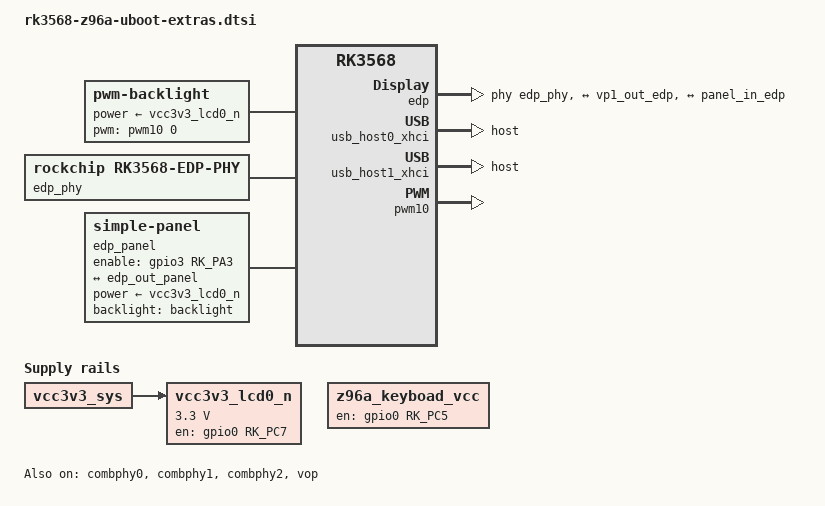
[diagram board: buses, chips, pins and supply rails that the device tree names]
/*
 * Z96A laptop U-Boot extras — included from arch/arm/dts/rk3568-z96a-u-boot.dtsi
 * Keyboard/touchpad USB HID power + eDP panel path for Radxa DRM port.
 */

/* U-Boot boots from eMMC only; skip empty SD + WiFi SDIO probes */
&sdmmc0 {
	status = "disabled";
};

&sdmmc2 {
	status = "disabled";
};

/ {
	/* Keyboard/touchpad combo 5V (USB HID behind Terminus hub). */
	z96a_keyboad_vcc: z96a-keyboad-vcc {
		compatible = "regulator-fixed";
		gpio = <&gpio0 RK_PC5 GPIO_ACTIVE_HIGH>;
		pinctrl-names = "default";
		pinctrl-0 = <&z96a_keyboard_pwr>;
		regulator-name = "z96a_keyboad_vcc";
		enable-active-high;
		regulator-always-on;
		regulator-boot-on;
	};

	/*
	 * LCD 3V3 rail enable is GPIO0_PC7 (vendor + mainline). Without driving
	 * this high the panel never powers and Analogix AUX/DPCD times out (-110).
	 * Same fixed-regulator+gpio pattern as z96a_keyboad_vcc.
	 */
	vcc3v3_lcd0_n: vcc3v3-lcd0-n {
		compatible = "regulator-fixed";
		regulator-name = "vcc3v3_lcd0_n";
		regulator-always-on;
		regulator-boot-on;
		regulator-min-microvolt = <3300000>;
		regulator-max-microvolt = <3300000>;
		enable-active-high;
		gpio = <&gpio0 RK_PC7 GPIO_ACTIVE_HIGH>;
		pinctrl-names = "default";
		pinctrl-0 = <&z96a_lcd_vcc_en>;
		vin-supply = <&vcc3v3_sys>;
	};

	backlight: backlight {
		compatible = "pwm-backlight";
		pwms = <&pwm10 0 5000 0>;
		brightness-levels = <
			  0  20  40  60  80 100 120 140
			160 180 200 220 240 255
		>;
		default-brightness-level = <13>;
		power-supply = <&vcc3v3_lcd0_n>;
	};

	/*
	 * SoC eDP (missing from mainline U-Boot rk356x-base.dtsi).
	 * Clock/reset IDs match Linux rk3568-z96a.dts.
	 */
	edp_phy_grf: syscon@fdcb0000 {
		compatible = "rockchip,rk3568-edp-phy-grf", "syscon", "simple-mfd";
		reg = <0x0 0xfdcb0000 0x0 0x100>;
		clocks = <&cru PCLK_EDPPHY_GRF>;

		edp_phy: edp-phy {
			compatible = "rockchip,rk3568-edp-phy";
			clocks = <&pmucru XIN_OSC0_EDPPHY_G>;
			clock-names = "refclk";
			#phy-cells = <0>;
			status = "okay";
		};
	};

	edp: edp@fe0c0000 {
		compatible = "rockchip,rk3568-edp";
		reg = <0x0 0xfe0c0000 0x0 0x10000>;
		interrupts = <GIC_SPI 18 IRQ_TYPE_LEVEL_HIGH>;
		clocks = <&pmucru XIN_OSC0_EDPPHY_G>, <&cru PCLK_EDP_CTRL>,
			 <&cru CLK_EDP_200M>, <&cru HCLK_VO>;
		clock-names = "dp", "pclk", "spdif", "hclk";
		resets = <&cru SRST_EDP_24M>, <&cru SRST_P_EDP_CTRL>;
		reset-names = "dp", "apb";
		phys = <&edp_phy>;
		phy-names = "dp";
		power-domains = <&power RK3568_PD_VO>;
		rockchip,grf = <&grf>;
		force-hpd;
		status = "okay";

		ports {
			#address-cells = <1>;
			#size-cells = <0>;

			edp_in: port@0 {
				reg = <0>;

				edp_in_vp1: endpoint {
					remote-endpoint = <&vp1_out_edp>;
				};
			};

			edp_out: port@1 {
				reg = <1>;

				edp_out_panel: endpoint {
					remote-endpoint = <&panel_in_edp>;
				};
			};
		};
	};

	edp_panel: edp-panel {
		compatible = "simple-panel";
		status = "okay";
		power-supply = <&vcc3v3_lcd0_n>;
		backlight = <&backlight>;
		enable-gpios = <&gpio3 RK_PA3 GPIO_ACTIVE_HIGH>;
		/* Give panel VDD/HPD time before AUX (Linux uses 20ms; be safer). */
		prepare-delay-ms = <100>;
		/* Wait for a clean black frame / stream before lighting backlight. */
		enable-delay-ms = <150>;
		bus-format = <0x100a>; /* MEDIA_BUS_FMT_RGB888_1X24 */
		bpc = <8>;

		display-timings {
			native-mode = <&timing0>;
			timing0: timing0 {
				clock-frequency = <141400000>;
				hactive = <1920>;
				vactive = <1080>;
				hfront-porch = <48>;
				hback-porch = <142>;
				hsync-len = <32>;
				vfront-porch = <3>;
				vback-porch = <11>;
				vsync-len = <6>;
				hsync-active = <0>;
				vsync-active = <0>;
				de-active = <0>;
				pixelclk-active = <0>;
			};
		};

		port {
			panel_in_edp: endpoint {
				remote-endpoint = <&edp_out_panel>;
			};
		};
	};
};

&pinctrl {
	usb {
		/* Match Linux/vendor: drive enable pins high at pinctrl apply. */
		z96a_keyboard_pwr: z96a-keyboard-pwr {
			rockchip,pins = <0 RK_PC5 RK_FUNC_GPIO &pcfg_output_high>;
		};
		z96a_vcc5v0_usb_en: z96a-vcc5v0-usb-en {
			rockchip,pins = <3 RK_PB7 RK_FUNC_GPIO &pcfg_output_high>;
		};
		z96a_vcc5v0_usb_host_en: z96a-vcc5v0-usb-host-en {
			rockchip,pins = <3 RK_PB6 RK_FUNC_GPIO &pcfg_output_high>;
		};
		z96a_vcc5v0_usb_otg_en: z96a-vcc5v0-usb-otg-en {
			rockchip,pins = <2 RK_PD5 RK_FUNC_GPIO &pcfg_output_high>;
		};
	};

	lcd {
		z96a_lcd_vcc_en: z96a-lcd-vcc-en {
			rockchip,pins = <0 RK_PC7 RK_FUNC_GPIO &pcfg_pull_none>;
		};
	};
};

/*
 * Rock-3A base DTS uses wrong USB VBUS GPIOs for Z96A (PA5/PA6/PD5 on gpio0).
 * Override to vendor/mainline pins so host PHYs actually get 5V and the
 * keyboard Terminus hub on usb_host1 can enumerate.
 */
&vcc5v0_usb {
	enable-active-high;
	gpio = <&gpio3 RK_PB7 GPIO_ACTIVE_HIGH>;
	pinctrl-names = "default";
	pinctrl-0 = <&z96a_vcc5v0_usb_en>;
	regulator-always-on;
	regulator-boot-on;
};

&vcc5v0_usb_host {
	enable-active-high;
	gpio = <&gpio3 RK_PB6 GPIO_ACTIVE_HIGH>;
	pinctrl-names = "default";
	pinctrl-0 = <&z96a_vcc5v0_usb_host_en>;
	regulator-always-on;
	regulator-boot-on;
	vin-supply = <&vcc5v0_usb>;
};

&vcc5v0_usb_otg {
	enable-active-high;
	gpio = <&gpio2 RK_PD5 GPIO_ACTIVE_HIGH>;
	pinctrl-names = "default";
	pinctrl-0 = <&z96a_vcc5v0_usb_otg_en>;
	regulator-always-on;
	regulator-boot-on;
	vin-supply = <&vcc5v0_usb>;
};

/* Rock-3A hub rail (GPIO0_PD5) is not this board — leave it off. */
&vcc5v0_usb_hub {
	status = "disabled";
};

/* Z96A laptop has no RJ45 — rock-3a gmac1 must stay off. */
&gmac1 {
	status = "disabled";
};

/*
 * Keyboard hub enumerates on usb_host1 EHCI (fd880000). OHCI companions
 * probe empty/phantom LS ports and spam:
 *   ERROR: USB-error: DEVICENOTRESPONDING …
 *   unable to get device descriptor
 * Keep OHCI off. Enable USB3 xHCI so Type-C / USB3 ports see mass-storage.
 */
&usb_host0_ohci {
	status = "disabled";
};

&usb_host0_xhci {
	extcon = <&usb2phy0>;
	dr_mode = "host";
	status = "okay";
};

&usb_host1_ohci {
	status = "disabled";
};

&usb_host1_xhci {
	dr_mode = "host";
	status = "okay";
};

/* USB3 needs combphy (rock-3a already okay; keep explicit for Z96A). */
&combphy0 {
	status = "okay";
};

&combphy1 {
	status = "okay";
};

&combphy2 {
	status = "okay";
};

&pwm10 {
	status = "okay";
};

&hdmi {
	status = "disabled";
};

/*
 * Bind display-subsystem before relocation so video_reserve() sees plat->size.
 * Without this, post-reloc alloc fails: "cannot allocate frame buffer memory".
 *
 * Radxa DRM probe requires route/route-edp with connect=<vp endpoint>;
 * missing route → stdio_add_devices: Failed to probe … (ret=-19 / -ENODEV).
 */
&display_subsystem {
	bootph-all;
	bootph-pre-ram;

	route {
		route_edp: route-edp {
			status = "okay";
			logo,uboot = "logo.bmp";
			logo,kernel = "logo_kernel.bmp";
			logo,mode = "center";
			charge_logo,mode = "center";
			connect = <&vp1_out_edp>;
		};
	};
};

&vop {
	status = "okay";
};

&vop_mmu {
	status = "okay";
};

&vp1 {
	vp1_out_edp: endpoint@ROCKCHIP_VOP2_EP_EDP0 {
		reg = <ROCKCHIP_VOP2_EP_EDP0>;
		remote-endpoint = <&edp_in_vp1>;
	};
};
